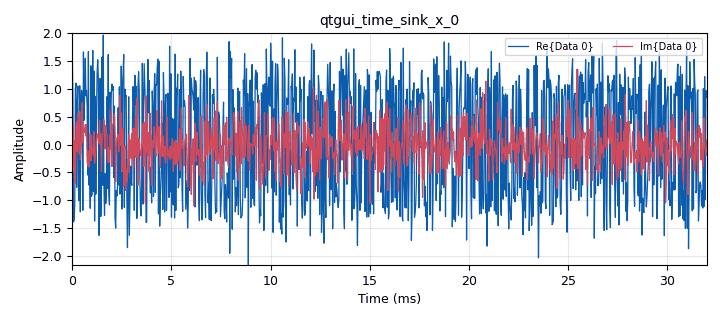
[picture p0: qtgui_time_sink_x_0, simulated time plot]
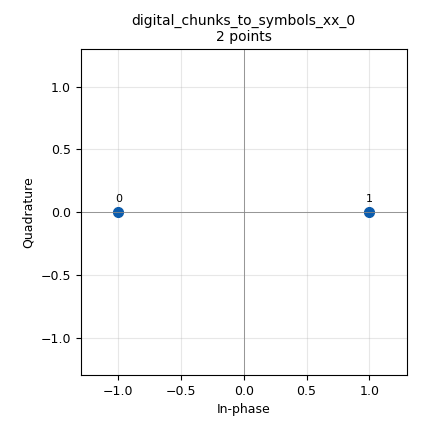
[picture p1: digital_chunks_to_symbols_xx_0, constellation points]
<?xml version='1.0' encoding='utf-8'?>
<?grc format='1' created='3.7.10'?>
<flow_graph>
<block>
<key>options</key>
<param><key>id</key><value>basic_stream</value></param>
<param><key>generate_options</key><value>qt_gui</value></param>
</block>
<block>
<key>variable_constellation</key>
<param><key>id</key><value>const</value></param>
<param><key>type</key><value>bpsk</value></param>
<param><key>precision</key><value>8</value></param>
</block>
<block>
<key>variable_cc_decoder_def</key>
<param><key>id</key><value>dec</value></param>
<param><key>padding</key><value>False</value></param>
<param><key>k</key><value>7</value></param>
<param><key>state_end</key><value>-1</value></param>
<param><key>framebits</key><value>8192</value></param>
<param><key>ndim</key><value>0</value></param>
<param><key>polys</key><value>[109,79]</value></param>
<param><key>rate</key><value>2</value></param>
<param><key>state_start</key><value>0</value></param>
<param><key>mode</key><value>fec.CC_TERMINATED</value></param>
</block>
<block>
<key>variable_cc_encoder_def</key>
<param><key>id</key><value>enc</value></param>
<param><key>padding</key><value>False</value></param>
<param><key>k</key><value>7</value></param>
<param><key>framebits</key><value>8192</value></param>
<param><key>ndim</key><value>0</value></param>
<param><key>polys</key><value>[109,79]</value></param>
<param><key>rate</key><value>2</value></param>
<param><key>state_start</key><value>0</value></param>
<param><key>mode</key><value>fec.CC_TERMINATED</value></param>
</block>
<block>
<key>variable</key>
<param><key>id</key><value>hdr_format</value></param>
<param><key>value</key><value>digital.header_format_default(digital.packet_utils.default_access_code, 0)</value></param>
</block>
<block>
<key>variable_qtgui_range</key>
<param><key>id</key><value>noise</value></param>
<param><key>value</key><value>-3.0</value></param>
<param><key>orient</key><value>Qt.Horizontal</value></param>
<param><key>start</key><value>-30.0</value></param>
<param><key>step</key><value>1.0</value></param>
<param><key>stop</key><value>3.0</value></param>
</block>
<block>
<key>variable</key>
<param><key>id</key><value>samp_rate</value></param>
<param><key>value</key><value>32000</value></param>
</block>
<block>
<key>analog_noise_source_x</key>
<param><key>id</key><value>analog_noise_source_x_0</value></param>
<param><key>amp</key><value>pow(10.0,noise/10.0)</value></param>
<param><key>noise_type</key><value>analog.GR_GAUSSIAN</value></param>
<param><key>type</key><value>complex</value></param>
<param><key>seed</key><value>0</value></param>
</block>
<block>
<key>blocks_add_xx</key>
<param><key>id</key><value>blocks_add_xx_0</value></param>
<param><key>type</key><value>complex</value></param>
</block>
<block>
<key>blocks_message_debug</key>
<param><key>id</key><value>blocks_message_debug_0</value></param>
</block>
<block>
<key>blocks_message_strobe</key>
<param><key>id</key><value>blocks_message_strobe_0</value></param>
<param><key>msg</key><value>pmt.intern("TEST")</value></param>
<param><key>period</key><value>500</value></param>
</block>
<block>
<key>blocks_pdu_to_tagged_stream</key>
<param><key>id</key><value>blocks_pdu_to_tagged_stream_0</value></param>
<param><key>type</key><value>byte</value></param>
<param><key>tag</key><value>packet_len</value></param>
</block>
<block>
<key>blocks_random_pdu</key>
<param><key>id</key><value>blocks_random_pdu_0</value></param>
<param><key>mask</key><value>0xFF</value></param>
<param><key>length_modulo</key><value>2</value></param>
<param><key>maxsize</key><value>400</value></param>
<param><key>minsize</key><value>10</value></param>
</block>
<block>
<key>blocks_repack_bits_bb</key>
<param><key>id</key><value>blocks_repack_bits_bb_0</value></param>
<param><key>k</key><value>8</value></param>
<param><key>l</key><value>1</value></param>
<param><key>endianness</key><value>gr.GR_MSB_FIRST</value></param>
<param><key>len_tag_key</key><value>packet_len</value></param>
</block>
<block>
<key>blocks_tagged_stream_to_pdu</key>
<param><key>id</key><value>blocks_tagged_stream_to_pdu_0</value></param>
<param><key>type</key><value>float</value></param>
<param><key>tag</key><value>packet_len</value></param>
</block>
<block>
<key>digital_chunks_to_symbols_xx</key>
<param><key>id</key><value>digital_chunks_to_symbols_xx_0</value></param>
<param><key>dimension</key><value>1</value></param>
<param><key>in_type</key><value>byte</value></param>
<param><key>out_type</key><value>complex</value></param>
<param><key>symbol_table</key><value>[-1,1]</value></param>
</block>
<block>
<key>digital_constellation_soft_decoder_cf</key>
<param><key>id</key><value>digital_constellation_soft_decoder_cf_0</value></param>
<param><key>constellation</key><value>const</value></param>
</block>
<block>
<key>digital_crc32_async_bb</key>
<param><key>id</key><value>digital_crc32_async_bb_0</value></param>
<param><key>check</key><value>False</value></param>
</block>
<block>
<key>digital_crc32_async_bb</key>
<param><key>id</key><value>digital_crc32_async_bb_1</value></param>
<param><key>check</key><value>True</value></param>
</block>
<block>
<key>fec_async_decoder</key>
<param><key>id</key><value>fec_async_decoder_0</value></param>
<param><key>decoder</key><value>dec</value></param>
<param><key>mtu</key><value>1500</value></param>
<param><key>packed</key><value>True</value></param>
<param><key>rev_pack</key><value>False</value></param>
</block>
<block>
<key>fec_async_encoder</key>
<param><key>id</key><value>fec_async_encoder_0</value></param>
<param><key>encoder</key><value>enc</value></param>
<param><key>mtu</key><value>1500</value></param>
<param><key>packed</key><value>True</value></param>
<param><key>rev_pack</key><value>False</value></param>
<param><key>rev_unpack</key><value>False</value></param>
</block>
<block>
<key>qtgui_time_sink_x</key>
<param><key>id</key><value>qtgui_time_sink_x_0</value></param>
<param><key>color1</key><value>"blue"</value></param>
<param><key>label1</key><value></value></param>
<param><key>color2</key><value>"red"</value></param>
<param><key>label2</key><value></value></param>
<param><key>size</key><value>1024</value></param>
<param><key>srate</key><value>samp_rate</value></param>
<param><key>type</key><value>complex</value></param>
<param><key>ymax</key><value>2</value></param>
<param><key>ymin</key><value>-2</value></param>
</block>
<connection><source_block_id>analog_noise_source_x_0</source_block_id><sink_block_id>blocks_add_xx_0</sink_block_id><source_key>0</source_key><sink_key>0</sink_key></connection>
<connection><source_block_id>blocks_add_xx_0</source_block_id><sink_block_id>digital_constellation_soft_decoder_cf_0</sink_block_id><source_key>0</source_key><sink_key>0</sink_key></connection>
<connection><source_block_id>blocks_add_xx_0</source_block_id><sink_block_id>qtgui_time_sink_x_0</sink_block_id><source_key>0</source_key><sink_key>0</sink_key></connection>
<connection><source_block_id>blocks_message_strobe_0</source_block_id><sink_block_id>blocks_random_pdu_0</sink_block_id><source_key>strobe</source_key><sink_key>generate</sink_key></connection>
<connection><source_block_id>blocks_pdu_to_tagged_stream_0</source_block_id><sink_block_id>blocks_repack_bits_bb_0</sink_block_id><source_key>0</source_key><sink_key>0</sink_key></connection>
<connection><source_block_id>blocks_random_pdu_0</source_block_id><sink_block_id>digital_crc32_async_bb_0</sink_block_id><source_key>pdus</source_key><sink_key>in</sink_key></connection>
<connection><source_block_id>blocks_repack_bits_bb_0</source_block_id><sink_block_id>digital_chunks_to_symbols_xx_0</sink_block_id><source_key>0</source_key><sink_key>0</sink_key></connection>
<connection><source_block_id>blocks_tagged_stream_to_pdu_0</source_block_id><sink_block_id>fec_async_decoder_0</sink_block_id><source_key>pdus</source_key><sink_key>in</sink_key></connection>
<connection><source_block_id>digital_chunks_to_symbols_xx_0</source_block_id><sink_block_id>blocks_add_xx_0</sink_block_id><source_key>0</source_key><sink_key>1</sink_key></connection>
<connection><source_block_id>digital_constellation_soft_decoder_cf_0</source_block_id><sink_block_id>blocks_tagged_stream_to_pdu_0</sink_block_id><source_key>0</source_key><sink_key>0</sink_key></connection>
<connection><source_block_id>digital_crc32_async_bb_0</source_block_id><sink_block_id>fec_async_encoder_0</sink_block_id><source_key>out</source_key><sink_key>in</sink_key></connection>
<connection><source_block_id>digital_crc32_async_bb_1</source_block_id><sink_block_id>blocks_message_debug_0</sink_block_id><source_key>out</source_key><sink_key>print_pdu</sink_key></connection>
<connection><source_block_id>fec_async_decoder_0</source_block_id><sink_block_id>digital_crc32_async_bb_1</sink_block_id><source_key>out</source_key><sink_key>in</sink_key></connection>
<connection><source_block_id>fec_async_encoder_0</source_block_id><sink_block_id>blocks_pdu_to_tagged_stream_0</sink_block_id><source_key>out</source_key><sink_key>pdus</sink_key></connection>
</flow_graph>
